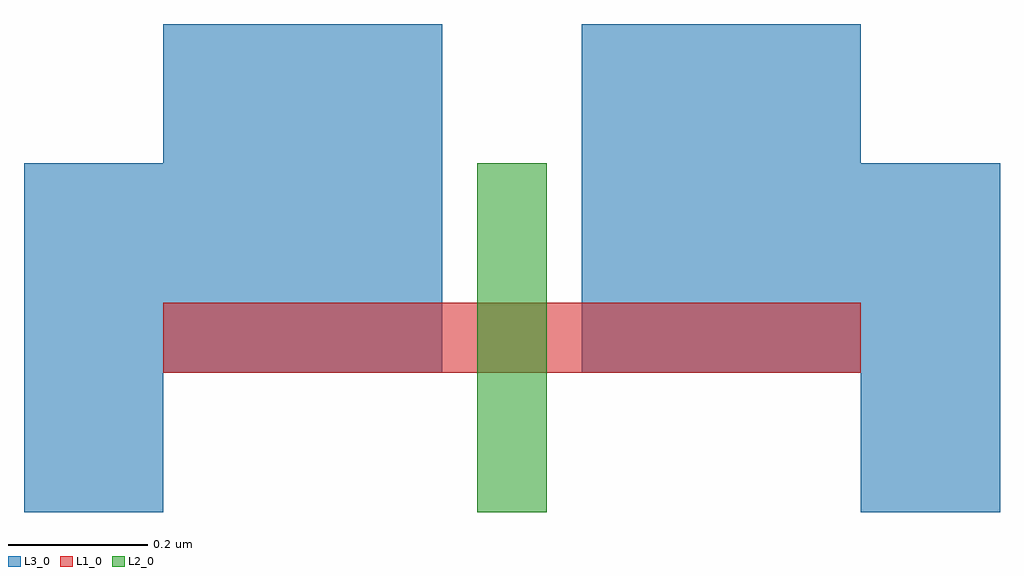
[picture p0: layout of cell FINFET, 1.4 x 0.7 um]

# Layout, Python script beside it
import gdspy

# Design specifications
fin_width = 0.1
fin_height = 0.2
fin_length = 1.0
gate_length = 0.1
source_drain_length = 0.4
source_drain_extension = 0.2

# Create a GDS Library and a Cell
lib = gdspy.GdsLibrary()
cell = lib.new_cell('FINFET')

# Define layers for different regions
fin_layer = 1
gate_layer = 2
source_drain_layer = 3

# Fin
fin_coords = [
    (0, 0),
    (fin_length, 0),
    (fin_length, fin_width),
    (0, fin_width)
]
fin = gdspy.Polygon(fin_coords, layer=fin_layer)
cell.add(fin)

# Source/Drain extensions
source_coords = [
    (-source_drain_extension, -fin_height),
    (0, -fin_height),
    (0, fin_width + fin_height),
    (-source_drain_extension, fin_width + fin_height)
]
source = gdspy.Polygon(source_coords, layer=source_drain_layer)
cell.add(source)

drain_coords = [
    (fin_length, -fin_height),
    (fin_length + source_drain_extension, -fin_height),
    (fin_length + source_drain_extension, fin_width + fin_height),
    (fin_length, fin_width + fin_height)
]
drain = gdspy.Polygon(drain_coords, layer=source_drain_layer)
cell.add(drain)

# Gate
gate_x_start = (fin_length - gate_length) / 2
gate_coords = [
    (gate_x_start, -fin_height),
    (gate_x_start + gate_length, -fin_height),
    (gate_x_start + gate_length, fin_width + fin_height),
    (gate_x_start, fin_width + fin_height)
]
gate = gdspy.Polygon(gate_coords, layer=gate_layer)
cell.add(gate)

# Source/Drain regions
source_drain_y_range = fin_width + 2 * fin_height
source_drain_left_coords = [
    (0, 0),
    (source_drain_length, 0),
    (source_drain_length, source_drain_y_range),
    (0, source_drain_y_range)
]
source_drain_left = gdspy.Polygon(source_drain_left_coords, layer=source_drain_layer)
cell.add(source_drain_left)

source_drain_right_coords = [
    (fin_length - source_drain_length, 0),
    (fin_length, 0),
    (fin_length, source_drain_y_range),
    (fin_length - source_drain_length, source_drain_y_range)
]
source_drain_right = gdspy.Polygon(source_drain_right_coords, layer=source_drain_layer)
cell.add(source_drain_right)

# Write the GDS file
gds_file = "finfet_layout.gds"
lib.write_gds(gds_file)

# Optionally, display all created layout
